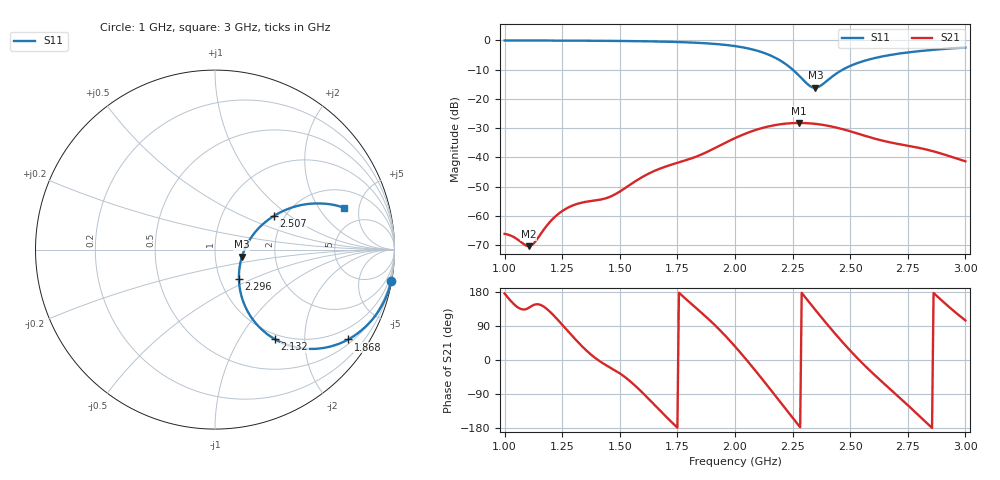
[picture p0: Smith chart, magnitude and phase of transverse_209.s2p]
! TOUCHSTONE file generated by CST MICROWAVE STUDIO
! Date and time: Tue Mar 11 13:57:46 2025
! Project name: transverse.cst
! Parameters = {Fracture=1; B=12.5; D=160; F=25; Feed=2.85625; L=100; M=20; R=0.384908; S=1; Theta=180; length=57.125; wave=114.25}
! Header version: 2024
! Port assignment regex: !\s*Touchstone port\s*([0-9]+)\s*=\s*(CST MWS port|CST DES external port|CST DES block port)\s*(.+)\s* \(\"(.*)\"\)(\s*mode\s*([0-9]+))?.*
! Touchstone port assignment:
! Touchstone port 1 = CST MWS port 1 ("")
! Touchstone port 2 = CST MWS port 2 ("")
# GHz S MA R 50
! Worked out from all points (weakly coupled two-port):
!   305 points, 1 GHz to 3 GHz, reference 50 ohm
!   highest |S21| = -28.22 dB at 2.276 GHz (marker M1); lowest = -70.3 dB at 1.105 GHz (marker M2)
!   lowest |S11| = -16.2 dB at 2.349 GHz (marker M3), VSWR 1.37, Z = 67.4 - j5.47 ohm
!   |S11| at or under -10 dB: 2.25 GHz to 2.467 GHz (216.9 MHz wide, 9.2 % of centre)
!   S12 and S22 are empty: the file has one direction only
!   S11 on the Smith chart (normalised r, x): 1 GHz: 0, -11; 1.868 GHz: 0.63, -3.16; 2.132 GHz: 0.92, -1.44; 2.296 GHz: 1.23, -0.42; 2.507 GHz: 1.76, +0.76; 3 GHz: 3.23, +3.50
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1  0.9976 -10.0  0.0004937 175.7  0 0.0  0 0.0
1.10526  0.9963 -11.5  0.0003044 137.8  0 0.0  0 0.0
1.125  0.996 -11.8  0.0003352 144.9  0 0.0  0 0.0
1.18421  0.9945 -12.8  0.0006916 134.3  0 0.0  0 0.0
1.23026  0.9931 -13.6  0.001059 106.5  0 0.0  0 0.0
1.28289  0.9914 -14.5  0.001436 70.8  0 0.0  0 0.0
1.33553  0.9892 -15.5  0.00169 36.6  0 0.0  0 0.0
1.46053  0.9812 -18.3  0.002151 -20.7  0 0.0  0 0.0
1.67105  0.9561 -24.6  0.006363 -131.1  0 0.0  0 0.0
1.86842  0.8954 -34.0  0.01189 117.1  0 0.0  0 0.0
2  0.7987 -43.7  0.02137 35.9  0 0.0  0 0.0
2.13158  0.5999 -56.3  0.03286 -60.7  0 0.0  0 0.0
2.21053  0.4176 -61.9  0.03745 -121.6  0 0.0  0 0.0
2.27632  0.2537 -57.1  0.03881 -172.6  0 0.0  0 0.0
2.29605  0.2112 -50.9  0.03874 172.2  0 0.0  0 0.0
2.33553  0.1582 -25.9  0.03793 142.2  0 0.0  0 0.0
2.34868  0.1552 -14.8  0.03747 132.2  0 0.0  0 0.0
2.42763  0.2505 24.2  0.03321 74.3  0 0.0  0 0.0
2.50658  0.3756 29.7  0.02746 20.5  0 0.0  0 0.0
2.67105  0.5611 26.7  0.01816 -75.5  0 0.0  0 0.0
2.84211  0.6802 21.9  0.0133 -171.8  0 0.0  0 0.0
3  0.7556 17.9  0.008585 104.5  0 0.0  0 0.0
